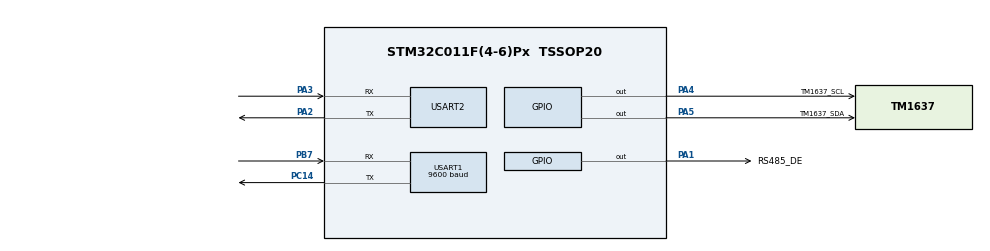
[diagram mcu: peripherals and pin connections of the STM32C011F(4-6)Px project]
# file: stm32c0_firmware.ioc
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Mcu.Family=STM32C0
Mcu.Name=STM32C011F(4-6)Px
Mcu.Package=TSSOP20
NVIC.USART1_IRQn=true\:0\:0\:false\:false\:true\:true\:true\:true
NVIC.USART2_IRQn=true\:0\:0\:false\:false\:true\:true\:true\:true
PA1.GPIO_Label=RS485_DE
PA1.Signal=GPIO_Output
PA13.Mode=Serial_Wire
PA13.Signal=DEBUG_SWDIO
PA14-BOOT0.Mode=Serial_Wire
PA14-BOOT0.Signal=DEBUG_SWCLK
PA2.Mode=Asynchronous
PA2.Signal=USART2_TX
PA3.Mode=Asynchronous
PA3.Signal=USART2_RX
PA4.GPIO_Label=TM1637_SCL
PA4.GPIO_ModeDefaultOutputPP=GPIO_MODE_OUTPUT_OD
PA4.GPIO_PuPd=GPIO_PULLUP
PA4.Signal=GPIO_Output
PA5.GPIO_Label=TM1637_SDA
PA5.GPIO_ModeDefaultOutputPP=GPIO_MODE_OUTPUT_OD
PA5.GPIO_PuPd=GPIO_PULLUP
PA5.Signal=GPIO_Output
PB7.Mode=Asynchronous
PB7.Signal=USART1_RX
PC14-OSCX_IN\ (PC14).Mode=Asynchronous
PC14-OSCX_IN\ (PC14).Signal=USART1_TX
ProjectManager.HeapSize=0x200
ProjectManager.StackSize=0x400
ProjectManager.TargetToolchain=CMake
RCC.ADCFreq_Value=48000000
RCC.AHBFreq_Value=48000000
RCC.CortexFreq_Value=48000000
RCC.EXTERNAL_CLOCK_VALUE=12288000
RCC.HCLKFreq_Value=48000000
RCC.HSE_VALUE=8000000
RCC.HSISYSCLKDivider=RCC_HSI_DIV1
RCC.HSI_VALUE=48000000
RCC.LSE_VALUE=32768
RCC.SYSCLKFreq_VALUE=48000000
USART1.AutoBaudRateEnableParam=UART_ADVFEATURE_AUTOBAUDRATE_DISABLE
USART1.BaudRate=9600
USART1.VirtualMode-Asynchronous=VM_ASYNC
USART2.VirtualMode-Asynchronous=VM_ASYNC
board=custom

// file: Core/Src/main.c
/* USER CODE BEGIN Header */
/**
  ******************************************************************************
  * @file           : main.c
  * @brief          : Main program body
  ******************************************************************************
  * @attention
  *
  * Copyright (c) 2026 STMicroelectronics.
  * All rights reserved.
  *
  * This software is licensed under terms that can be found in the LICENSE file
  * in the root directory of this software component.
  * If no LICENSE file comes with this software, it is provided AS-IS.
  *
  ******************************************************************************
  */
/* USER CODE END Header */
#include "main.h"

/* USER CODE BEGIN Includes */
#include <math.h>
/* USER CODE END Includes */

/* USER CODE BEGIN PV */
// --- Global SysTick Counter Reference ---
extern __IO uint32_t uwTick;

// --- Gas Sensor (USART1) Definitions ---
#define GAS_RX_BUF_SIZE  32
uint8_t gas_rx_buffer[GAS_RX_BUF_SIZE];
volatile uint8_t gas_rx_index = 0;
volatile uint8_t gas_data_ready = 0;
uint16_t current_gas_value = 0;

// --- Modbus RTU Slave (USART2) Definitions ---
#define MODBUS_BUF_SIZE  128
uint8_t modbus_rx_buffer[MODBUS_BUF_SIZE];
volatile uint16_t modbus_rx_index = 0;
volatile uint32_t modbus_last_rx_tick = 0;
volatile uint8_t modbus_frame_complete = 0;

// --- TM1637 State Machine Definitions ---
typedef enum {
  TM_IDLE,
  TM_START,
  TM_SEND_BYTE,
  TM_ACK,
  TM_STOP
} TM1637_State_t;

TM1637_State_t tm_state = TM_IDLE;
uint8_t tm_bit_index = 0;
volatile uint8_t display_update_required = 0;

// The complete transmission chain sequence array buffer
uint8_t tm_tx_pipeline[8];
uint8_t tm_pipeline_index = 0;
uint8_t tm_tx_byte = 0;

const uint8_t TM_FONT_NUM[] = {0x3F, 0x06, 0x5B, 0x4F, 0x66, 0x6D, 0x7D, 0x07, 0x7F, 0x6F};
const uint8_t TM_SEG_HEAT[] = {0x76, 0x79, 0x77, 0x38}; // H, E, A, t
const uint8_t TM_SEG_ERR[]  = {0x79, 0x50, 0x50, 0x00}; // E, r, r, [Blank]
const uint8_t TM_SEG_GOOD[] = {0x3D, 0x5C, 0x5C, 0x5E}; // G, o, o, d

// Ring buffer containing the sequenced target states to write
uint8_t tm_display_buffer[4] = {0};
/* USER CODE END PV */

void SystemClock_Config(void);
static void MX_GPIO_Init(void);
static void MX_USART1_UART_Init(void);
static void MX_USART2_UART_Init(void);

/* USER CODE BEGIN PFP */
void GasSensor_SendInit(void);
void Process_Gas_Data(void);
void Modbus_Process_State_Machine(void);
uint8_t Modbus_Validate_And_Parse(uint8_t *buffer, uint16_t length);
void TM1637_SetSegments(const uint8_t *segments);
void TM1637_ShowNumber(uint16_t value);
void TM1637_Tick_State_Machine(void);
/* USER CODE END PFP */

int main(void)
{

  /* MCU Configuration--------------------------------------------------------*/

  /* Reset of all peripherals, Initializes the Flash interface and the Systick. */
  LL_APB2_GRP1_EnableClock(LL_APB2_GRP1_PERIPH_SYSCFG);
  LL_APB1_GRP1_EnableClock(LL_APB1_GRP1_PERIPH_PWR);

  /* SysTick_IRQn interrupt configuration */
  NVIC_SetPriority(SysTick_IRQn, 3);

  /* Configure the system clock */
  SystemClock_Config();

  /* Initialize all configured peripherals */
  MX_GPIO_Init();
  MX_USART1_UART_Init();
  MX_USART2_UART_Init();
  /* USER CODE BEGIN 2 */
  // 1. Enable RX-Not-Empty Interrupt for both UARTs
  LL_USART_EnableIT_RXNE(USART1);
  LL_USART_EnableIT_RXNE(USART2);

  // 2. Ensure RS485 MAX485 is set to Receiver Mode (DE pin LOW)
  LL_GPIO_ResetOutputPin(RS485_DE_GPIO_Port, RS485_DE_Pin);

  // 3. Make sure TM1637 Open-Drain bus starts passive (HIGH via pull-ups)
  LL_GPIO_SetOutputPin(TM1637_SCL_GPIO_Port, TM1637_SCL_Pin);
  LL_GPIO_SetOutputPin(TM1637_SDA_GPIO_Port, TM1637_SDA_Pin);

  // 4. Fire the initialization packet to the Gas Sensor
  GasSensor_SendInit();
  /* USER CODE END 2 */

  /* Infinite loop */
  while (1)
  {

    /* USER CODE BEGIN 3 */
    static uint32_t startup_timestamp = 0;
    static uint8_t boot_phase = 0;

    if (startup_timestamp == 0) startup_timestamp = uwTick;

    // Non-blocking Startup Sequence Manager
    switch (boot_phase) {
      case 0: // Display "HEAt" for the first 3 seconds
        TM1637_SetSegments(TM_SEG_HEAT);
        if (uwTick - startup_timestamp >= 3000) {
          boot_phase = 1;
          startup_timestamp = uwTick;
        }
        break;

      case 1: // Run spinning animation for 3 seconds
        {
          uint32_t elapsed_anim = uwTick - startup_timestamp;
          uint8_t frame = (elapsed_anim / 250) % 4; // Advance frame every 250ms

          uint8_t anim_buffer[4] = {0};
          if (frame == 0)      { anim_buffer[0] = 0x01; anim_buffer[1] = 0x01; anim_buffer[2] = 0x01; anim_buffer[3] = 0x01; }
          else if (frame == 1) { anim_buffer[3] = 0x06; }
          else if (frame == 2) { anim_buffer[0] = 0x08; anim_buffer[1] = 0x08; anim_buffer[2] = 0x08; anim_buffer[3] = 0x08; }
          else                 { anim_buffer[0] = 0x30; }

          TM1637_SetSegments(anim_buffer);

          if (elapsed_anim >= 3000) {
            boot_phase = 2;
            startup_timestamp = uwTick;
          }
        }
        break;

      case 2: // Display static "Good" for 3 seconds
        TM1637_SetSegments(TM_SEG_GOOD);
        if (uwTick - startup_timestamp >= 3000) {
          boot_phase = 3; // Warm-up complete
        }
        break;

      case 3: // Operational State
        if (gas_data_ready) {
          Process_Gas_Data();
          gas_data_ready = 0;
          TM1637_ShowNumber(current_gas_value);
        }
        break;
    }

    // Process tasks concurrently
    Modbus_Process_State_Machine();
    TM1637_Tick_State_Machine();
  }
  /* USER CODE END 3 */
}

void SystemClock_Config(void)
{

  LL_FLASH_SetLatency(LL_FLASH_LATENCY_1);

  /* HSI configuration and activation */
  LL_RCC_HSI_Enable();
  while(LL_RCC_HSI_IsReady() != 1)
  {
  }

  LL_RCC_HSI_SetCalibTrimming(64);
  LL_RCC_SetHSIDiv(LL_RCC_HSI_DIV_1);
  /* Set AHB prescaler*/
  LL_RCC_SetAHBPrescaler(LL_RCC_HCLK_DIV_1);

  /* Sysclk activation on the HSI */
  LL_RCC_SetSysClkSource(LL_RCC_SYS_CLKSOURCE_HSI);
  while(LL_RCC_GetSysClkSource() != LL_RCC_SYS_CLKSOURCE_STATUS_HSI)
  {
  }

  /* Set APB1 prescaler*/
  LL_RCC_SetAPB1Prescaler(LL_RCC_APB1_DIV_1);
  LL_Init1msTick(48000000);
  /* Update CMSIS variable (which can be updated also through SystemCoreClockUpdate function) */
  LL_SetSystemCoreClock(48000000);
}

static void MX_USART1_UART_Init(void)
{

  LL_USART_InitTypeDef USART_InitStruct = {0};

  LL_GPIO_InitTypeDef GPIO_InitStruct = {0};

  LL_RCC_SetUSARTClockSource(LL_RCC_USART1_CLKSOURCE_PCLK1);

  /* Peripheral clock enable */
  LL_APB2_GRP1_EnableClock(LL_APB2_GRP1_PERIPH_USART1);

  LL_IOP_GRP1_EnableClock(LL_IOP_GRP1_PERIPH_GPIOB);
  LL_IOP_GRP1_EnableClock(LL_IOP_GRP1_PERIPH_GPIOC);
  /**USART1 GPIO Configuration
  PB7   ------> USART1_RX
  PC14-OSCX_IN (PC14)   ------> USART1_TX
  */
  GPIO_InitStruct.Pin = LL_GPIO_PIN_7;
  GPIO_InitStruct.Mode = LL_GPIO_MODE_ALTERNATE;
  GPIO_InitStruct.Speed = LL_GPIO_SPEED_FREQ_LOW;
  GPIO_InitStruct.OutputType = LL_GPIO_OUTPUT_PUSHPULL;
  GPIO_InitStruct.Pull = LL_GPIO_PULL_NO;
  GPIO_InitStruct.Alternate = LL_GPIO_AF_0;
  LL_GPIO_Init(GPIOB, &GPIO_InitStruct);

  GPIO_InitStruct.Pin = LL_GPIO_PIN_14;
  GPIO_InitStruct.Mode = LL_GPIO_MODE_ALTERNATE;
  GPIO_InitStruct.Speed = LL_GPIO_SPEED_FREQ_LOW;
  GPIO_InitStruct.OutputType = LL_GPIO_OUTPUT_PUSHPULL;
  GPIO_InitStruct.Pull = LL_GPIO_PULL_NO;
  GPIO_InitStruct.Alternate = LL_GPIO_AF_0;
  LL_GPIO_Init(GPIOC, &GPIO_InitStruct);

  /* USART1 interrupt Init */
  NVIC_SetPriority(USART1_IRQn, 0);
  NVIC_EnableIRQ(USART1_IRQn);

  USART_InitStruct.PrescalerValue = LL_USART_PRESCALER_DIV1;
  USART_InitStruct.BaudRate = 9600;
  USART_InitStruct.DataWidth = LL_USART_DATAWIDTH_8B;
  USART_InitStruct.StopBits = LL_USART_STOPBITS_1;
  USART_InitStruct.Parity = LL_USART_PARITY_NONE;
  USART_InitStruct.TransferDirection = LL_USART_DIRECTION_TX_RX;
  USART_InitStruct.HardwareFlowControl = LL_USART_HWCONTROL_NONE;
  USART_InitStruct.OverSampling = LL_USART_OVERSAMPLING_16;
  LL_USART_Init(USART1, &USART_InitStruct);
  LL_USART_SetTXFIFOThreshold(USART1, LL_USART_FIFOTHRESHOLD_1_8);
  LL_USART_SetRXFIFOThreshold(USART1, LL_USART_FIFOTHRESHOLD_1_8);
  LL_USART_DisableFIFO(USART1);
  LL_USART_ConfigAsyncMode(USART1);

  LL_USART_Enable(USART1);

  /* Polling USART1 initialisation */
  while((!(LL_USART_IsActiveFlag_TEACK(USART1))) || (!(LL_USART_IsActiveFlag_REACK(USART1))))
  {
  }

}

static void MX_USART2_UART_Init(void)
{

  LL_USART_InitTypeDef USART_InitStruct = {0};

  LL_GPIO_InitTypeDef GPIO_InitStruct = {0};

  /* Peripheral clock enable */
  LL_APB1_GRP1_EnableClock(LL_APB1_GRP1_PERIPH_USART2);

  LL_IOP_GRP1_EnableClock(LL_IOP_GRP1_PERIPH_GPIOA);
  /**USART2 GPIO Configuration
  PA2   ------> USART2_TX
  PA3   ------> USART2_RX
  */
  GPIO_InitStruct.Pin = LL_GPIO_PIN_2;
  GPIO_InitStruct.Mode = LL_GPIO_MODE_ALTERNATE;
  GPIO_InitStruct.Speed = LL_GPIO_SPEED_FREQ_LOW;
  GPIO_InitStruct.OutputType = LL_GPIO_OUTPUT_PUSHPULL;
  GPIO_InitStruct.Pull = LL_GPIO_PULL_NO;
  GPIO_InitStruct.Alternate = LL_GPIO_AF_1;
  LL_GPIO_Init(GPIOA, &GPIO_InitStruct);

  GPIO_InitStruct.Pin = LL_GPIO_PIN_3;
  GPIO_InitStruct.Mode = LL_GPIO_MODE_ALTERNATE;
  GPIO_InitStruct.Speed = LL_GPIO_SPEED_FREQ_LOW;
  GPIO_InitStruct.OutputType = LL_GPIO_OUTPUT_PUSHPULL;
  GPIO_InitStruct.Pull = LL_GPIO_PULL_NO;
  GPIO_InitStruct.Alternate = LL_GPIO_AF_1;
  LL_GPIO_Init(GPIOA, &GPIO_InitStruct);

  /* USART2 interrupt Init */
  NVIC_SetPriority(USART2_IRQn, 0);
  NVIC_EnableIRQ(USART2_IRQn);

  USART_InitStruct.PrescalerValue = LL_USART_PRESCALER_DIV1;
  USART_InitStruct.BaudRate = 115200;
  USART_InitStruct.DataWidth = LL_USART_DATAWIDTH_8B;
  USART_InitStruct.StopBits = LL_USART_STOPBITS_1;
  USART_InitStruct.Parity = LL_USART_PARITY_NONE;
  USART_InitStruct.TransferDirection = LL_USART_DIRECTION_TX_RX;
  USART_InitStruct.HardwareFlowControl = LL_USART_HWCONTROL_NONE;
  USART_InitStruct.OverSampling = LL_USART_OVERSAMPLING_16;
  LL_USART_Init(USART2, &USART_InitStruct);
  LL_USART_ConfigAsyncMode(USART2);

  LL_USART_Enable(USART2);

  /* Polling USART2 initialisation */
  while((!(LL_USART_IsActiveFlag_TEACK(USART2))) || (!(LL_USART_IsActiveFlag_REACK(USART2))))
  {
  }

}

static void MX_GPIO_Init(void)
{
  LL_GPIO_InitTypeDef GPIO_InitStruct = {0};

  /* GPIO Ports Clock Enable */
  LL_IOP_GRP1_EnableClock(LL_IOP_GRP1_PERIPH_GPIOB);
  LL_IOP_GRP1_EnableClock(LL_IOP_GRP1_PERIPH_GPIOC);
  LL_IOP_GRP1_EnableClock(LL_IOP_GRP1_PERIPH_GPIOA);

  /**/
  LL_GPIO_ResetOutputPin(RS485_DE_GPIO_Port, RS485_DE_Pin);

  /**/
  LL_GPIO_ResetOutputPin(TM1637_SCL_GPIO_Port, TM1637_SCL_Pin);

  /**/
  LL_GPIO_ResetOutputPin(TM1637_SDA_GPIO_Port, TM1637_SDA_Pin);

  /**/
  GPIO_InitStruct.Pin = RS485_DE_Pin;
  GPIO_InitStruct.Mode = LL_GPIO_MODE_OUTPUT;
  GPIO_InitStruct.Speed = LL_GPIO_SPEED_FREQ_LOW;
  GPIO_InitStruct.OutputType = LL_GPIO_OUTPUT_PUSHPULL;
  GPIO_InitStruct.Pull = LL_GPIO_PULL_NO;
  LL_GPIO_Init(RS485_DE_GPIO_Port, &GPIO_InitStruct);

  /**/
  GPIO_InitStruct.Pin = TM1637_SCL_Pin;
  GPIO_InitStruct.Mode = LL_GPIO_MODE_OUTPUT;
  GPIO_InitStruct.Speed = LL_GPIO_SPEED_FREQ_LOW;
  GPIO_InitStruct.OutputType = LL_GPIO_OUTPUT_OPENDRAIN;
  GPIO_InitStruct.Pull = LL_GPIO_PULL_UP;
  LL_GPIO_Init(TM1637_SCL_GPIO_Port, &GPIO_InitStruct);

  /**/
  GPIO_InitStruct.Pin = TM1637_SDA_Pin;
  GPIO_InitStruct.Mode = LL_GPIO_MODE_OUTPUT;
  GPIO_InitStruct.Speed = LL_GPIO_SPEED_FREQ_LOW;
  GPIO_InitStruct.OutputType = LL_GPIO_OUTPUT_OPENDRAIN;
  GPIO_InitStruct.Pull = LL_GPIO_PULL_UP;
  LL_GPIO_Init(TM1637_SDA_GPIO_Port, &GPIO_InitStruct);

}

/* USER CODE BEGIN 4 */
// --- GAS SENSOR IMPLEMENTATION ---
void GasSensor_SendInit(void) {
  uint8_t init_cmd[9] = {0xFF, 0x01, 0x78, 0x03, 0x00, 0x00, 0x00, 0x00, 0x84};

  for (uint8_t i = 0; i < 9; i++) {
    while (!LL_USART_IsActiveFlag_TXE(USART1));
    LL_USART_TransmitData8(USART1, init_cmd[i]);
  }
}

void Process_Gas_Data(void) {
  gas_rx_index = 0;

  if (gas_rx_buffer[0] != 0xFF || gas_rx_buffer[1] != 0x88) return;

  uint8_t checksum = 0;
  for (uint8_t i = 1; i < 8; i++) {
    checksum += gas_rx_buffer[i];
  }
  checksum = (~checksum) + 1;
  if (checksum != gas_rx_buffer[8]) return;

  uint16_t raw_concentration = (gas_rx_buffer[2] << 8) | gas_rx_buffer[3];
  uint8_t decimal_places = gas_rx_buffer[5];

  float resolution = 1.0f;
  if (decimal_places == 1) resolution = 0.1f;
  else if (decimal_places == 2) resolution = 0.01f;

  float final_concentration = (float)raw_concentration * resolution;
  current_gas_value = (uint16_t)(final_concentration + 0.5f);

  uint16_t temp_adc = (gas_rx_buffer[6] << 8) | gas_rx_buffer[7];
  float vpd3 = 3.0f * (float)temp_adc / 1024.0f;
  if (vpd3 < 3.0f) {
    float rth = vpd3 * 10000.0f / (3.0f - vpd3);
    float log_rth = logf(rth / 10000.0f);
    float temp_c = 1.0f / (1.0f / (273.15f + 25.0f) + (1.0f / 3380.13f) * log_rth) - 273.15f;
    (void)temp_c;
  }
}

// --- MODBUS RTU SLAVE IMPLEMENTATION ---

void Modbus_Process_State_Machine(void) {
  if (modbus_rx_index > 0 && (uwTick - modbus_last_rx_tick) > 2) {
    modbus_frame_complete = 1;
  }

  if (modbus_frame_complete) {
    if (Modbus_Validate_And_Parse(modbus_rx_buffer, modbus_rx_index)) {

      LL_GPIO_SetOutputPin(RS485_DE_GPIO_Port, RS485_DE_Pin);

      uint8_t response[8] = {0x01, 0x03, 0x02, (uint8_t)(current_gas_value >> 8), (uint8_t)(current_gas_value & 0xFF), 0x00, 0x00, 0x00};

      // Calculate CRC16 Modbus (Simplified Example inline)
      uint16_t crc = 0xFFFF;
      for (int pos = 0; pos < 6; pos++) {
        crc ^= (uint16_t)response[pos];
        for (int i = 8; i != 0; i--) {
          if ((crc & 0x0001) != 0) {
            crc >>= 1;
            crc ^= 0xA001;
          } else {
            crc >>= 1;
          }
        }
      }
      response[6] = (uint8_t)(crc & 0xFF);
      response[7] = (uint8_t)(crc >> 8);

      for (uint8_t i = 0; i < 8; i++) {
        while (!LL_USART_IsActiveFlag_TXE(USART2));
        LL_USART_TransmitData8(USART2, response[i]);
      }

      while (!LL_USART_IsActiveFlag_TC(USART2));
      LL_GPIO_ResetOutputPin(RS485_DE_GPIO_Port, RS485_DE_Pin);
    }
    modbus_rx_index = 0;
    modbus_frame_complete = 0;
  }
}

uint8_t Modbus_Validate_And_Parse(uint8_t *buffer, uint16_t length) {
  if (length < 4) return 0;
  if (buffer[0] != 0x01) return 0;
  return 1;
}

// --- TM1637 STATE MACHINE ---
void TM1637_SetSegments(const uint8_t *segments) {
  if (tm_state != TM_IDLE) return;

  // Byte 0: Data Command 1 (Write data, auto address increment)
  tm_tx_pipeline[0] = 0x40;
  // Byte 1: Address Command 2 (Start writing at display register location 0)
  tm_tx_pipeline[1] = 0xC0;
  // Bytes 2-5: The 4 raw structural display frame segment masks
  tm_tx_pipeline[2] = segments[0];
  tm_tx_pipeline[3] = segments[1];
  tm_tx_pipeline[4] = segments[2];
  tm_tx_pipeline[5] = segments[3];
  // Byte 6: Display Brightness Control Command 3 (Max Intensity: 0x88 | 0x07)
  tm_tx_pipeline[6] = 0x8F;

  tm_pipeline_index = 0;
  display_update_required = 1;
}

void TM1637_ShowNumber(uint16_t value) {
  uint8_t seg_buf[4];
  seg_buf[0] = (value >= 1000) ? TM_FONT_NUM[(value / 1000) % 10] : 0x00;
  seg_buf[1] = (value >= 100)  ? TM_FONT_NUM[(value / 100) % 10]  : 0x00;
  seg_buf[2] = (value >= 10)   ? TM_FONT_NUM[(value / 10) % 10]   : 0x00;
  seg_buf[3] = TM_FONT_NUM[value % 10];

  if (value == 0) seg_buf[3] = TM_FONT_NUM[0];

  TM1637_SetSegments(seg_buf);
}

void TM1637_Tick_State_Machine(void) {
  static uint32_t last_tm_tick = 0;
  if (uwTick - last_tm_tick < 1) return; // Process at a strict 1ms pace
  last_tm_tick = uwTick;

  switch (tm_state) {
    case TM_IDLE:
      if (display_update_required) {
        display_update_required = 0;
        tm_pipeline_index = 0;
        tm_state = TM_START;
        tm_tx_byte = tm_tx_pipeline[tm_pipeline_index]; // Grab first Command (0x40)
      }
      break;

    case TM_START:
      LL_GPIO_ResetOutputPin(TM1637_SDA_GPIO_Port, TM1637_SDA_Pin); // SDA low
      tm_state = TM_SEND_BYTE;
      tm_bit_index = 0;
      break;

    case TM_SEND_BYTE:
      LL_GPIO_ResetOutputPin(TM1637_SCL_GPIO_Port, TM1637_SCL_Pin); // CLK low
      if (tm_tx_byte & (1 << tm_bit_index)) {
        LL_GPIO_SetOutputPin(TM1637_SDA_GPIO_Port, TM1637_SDA_Pin);
      } else {
        LL_GPIO_ResetOutputPin(TM1637_SDA_GPIO_Port, TM1637_SDA_Pin);
      }
      LL_GPIO_SetOutputPin(TM1637_SCL_GPIO_Port, TM1637_SCL_Pin); // CLK high (Sample)

      tm_bit_index++;
      if (tm_bit_index >= 8) {
        tm_state = TM_ACK;
      }
      break;

    case TM_ACK:
      LL_GPIO_ResetOutputPin(TM1637_SCL_GPIO_Port, TM1637_SCL_Pin); // CLK low
      LL_GPIO_SetOutputPin(TM1637_SDA_GPIO_Port, TM1637_SDA_Pin);   // Release SDA for ACK
      LL_GPIO_SetOutputPin(TM1637_SCL_GPIO_Port, TM1637_SCL_Pin);   // CLK high
      tm_state = TM_STOP;
      break;

    case TM_STOP:
      // Check data boundary to determine if we should generate a STOP condition
      // Block 1 (Index 0: Command 1) needs a STOP
      // Block 2 (Index 1-5: Address + 4 Data Bytes) streams continuously, STOP occurs after index 5
      // Block 3 (Index 6: Brightness Command) needs a final STOP
      if (tm_pipeline_index == 0 || tm_pipeline_index == 5 || tm_pipeline_index == 6) {
        LL_GPIO_ResetOutputPin(TM1637_SCL_GPIO_Port, TM1637_SCL_Pin); // CLK low
        LL_GPIO_ResetOutputPin(TM1637_SDA_GPIO_Port, TM1637_SDA_Pin); // SDA low
        LL_GPIO_SetOutputPin(TM1637_SCL_GPIO_Port, TM1637_SCL_Pin);   // CLK high
        LL_GPIO_SetOutputPin(TM1637_SDA_GPIO_Port, TM1637_SDA_Pin);   // SDA high (Physical STOP)
      }

      tm_pipeline_index++;
      if (tm_pipeline_index < 7) {
        // If the next byte continues the current frame block (Addresses & Display Segments),
        // skip the START toggle logic and stream the next byte out directly.
        if (tm_pipeline_index >= 2 && tm_pipeline_index <= 5) {
          tm_state = TM_SEND_BYTE;
        } else {
          tm_state = TM_START; // Transition to next explicit command group block
        }
        tm_tx_byte = tm_tx_pipeline[tm_pipeline_index];
        tm_bit_index = 0;
      } else {
        tm_state = TM_IDLE; // Total pipeline sequence successfully dispatched
      }
      break;
  }
}
/* USER CODE END 4 */

void Error_Handler(void)
{
  __disable_irq();
  while (1)
  {
  }
}
